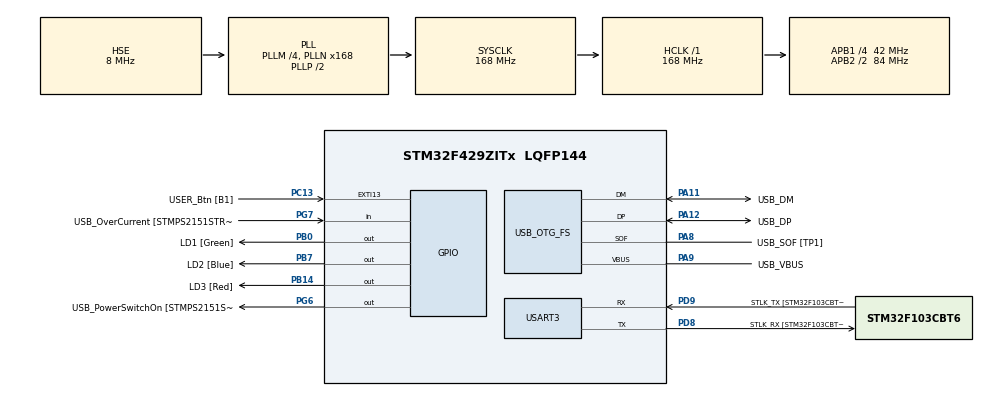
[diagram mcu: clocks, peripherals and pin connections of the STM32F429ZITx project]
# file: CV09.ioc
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Mcu.Family=STM32F4
Mcu.Name=STM32F429ZITx
Mcu.Package=LQFP144
NVIC.OTG_FS_IRQn=true\:0\:0\:false\:false\:true\:false\:true\:true
NVIC.PriorityGroup=NVIC_PRIORITYGROUP_4
PA1.GPIO_Label=RMII_REF_CLK [LAN8742A-CZ-TR_REFCLK0]
PA1.Signal=ETH_REF_CLK
PA10.GPIO_Label=USB_ID
PA10.Signal=USB_OTG_FS_ID
PA11.GPIO_Label=USB_DM
PA11.Mode=Device_Only
PA11.Signal=USB_OTG_FS_DM
PA12.GPIO_Label=USB_DP
PA12.Mode=Device_Only
PA12.Signal=USB_OTG_FS_DP
PA13.GPIO_Label=TMS
PA13.Mode=Serial_Wire
PA13.Signal=SYS_JTMS-SWDIO
PA14.GPIO_Label=TCK
PA14.Mode=Serial_Wire
PA14.Signal=SYS_JTCK-SWCLK
PA2.GPIO_Label=RMII_MDIO [LAN8742A-CZ-TR_MDIO]
PA2.Signal=ETH_MDIO
PA7.GPIO_Label=RMII_CRS_DV [LAN8742A-CZ-TR_CRS_DV]
PA7.Signal=ETH_CRS_DV
PA8.GPIO_Label=USB_SOF [TP1]
PA8.Mode=Activate_SOF_FS
PA8.Signal=USB_OTG_FS_SOF
PA9.GPIO_Label=USB_VBUS
PA9.Mode=Activate_VBUS
PA9.Signal=USB_OTG_FS_VBUS
PB0.GPIO_Label=LD1 [Green]
PB0.Signal=GPIO_Output
PB13.GPIO_Label=RMII_TXD1 [LAN8742A-CZ-TR_TXD1]
PB13.Signal=ETH_TXD1
PB14.GPIO_Label=LD3 [Red]
PB14.Signal=GPIO_Output
PB7.GPIO_Label=LD2 [Blue]
PB7.Signal=GPIO_Output
PC1.GPIO_Label=RMII_MDC [LAN8742A-CZ-TR_MDC]
PC1.Signal=ETH_MDC
PC13.GPIO_Label=USER_Btn [B1]
PC13.Signal=GPXTI13
PC14/OSC32_IN.Mode=LSE-External-Oscillator
PC14/OSC32_IN.Signal=RCC_OSC32_IN
PC15/OSC32_OUT.Mode=LSE-External-Oscillator
PC15/OSC32_OUT.Signal=RCC_OSC32_OUT
PC4.GPIO_Label=RMII_RXD0 [LAN8742A-CZ-TR_RXD0]
PC4.Signal=ETH_RXD0
PC5.GPIO_Label=RMII_RXD1 [LAN8742A-CZ-TR_RXD1]
PC5.Signal=ETH_RXD1
PD8.GPIO_Label=STLK_RX [STM32F103CBT6_PA3]
PD8.Mode=Asynchronous
PD8.Signal=USART3_TX
PD9.GPIO_Label=STLK_TX [STM32F103CBT6_PA2]
PD9.Mode=Asynchronous
PD9.Signal=USART3_RX
PG11.GPIO_Label=RMII_TX_EN [LAN8742A-CZ-TR_TXEN]
PG11.Signal=ETH_TX_EN
PG13.GPIO_Label=RMII_TXD0 [LAN8742A-CZ-TR_TXD0]
PG13.Signal=ETH_TXD0
PG6.GPIO_Label=USB_PowerSwitchOn [STMPS2151STR_EN]
PG6.Signal=GPIO_Output
PG7.GPIO_Label=USB_OverCurrent [STMPS2151STR_FAULT]
PG7.Signal=GPIO_Input
PH0/OSC_IN.GPIO_Label=MCO [STM32F103CBT6_PA8]
PH0/OSC_IN.Mode=HSE-External-Clock-Source
PH0/OSC_IN.Signal=RCC_OSC_IN
PH1/OSC_OUT.Mode=HSE-External-Clock-Source
PH1/OSC_OUT.Signal=RCC_OSC_OUT
ProjectManager.HeapSize=0x200
ProjectManager.StackSize=0x400
ProjectManager.TargetToolchain=STM32CubeIDE
RCC.48MHZClocksFreq_Value=48000000
RCC.AHBFreq_Value=168000000
RCC.APB1CLKDivider=RCC_HCLK_DIV4
RCC.APB1Freq_Value=42000000
RCC.APB1TimFreq_Value=84000000
RCC.APB2CLKDivider=RCC_HCLK_DIV2
RCC.APB2Freq_Value=84000000
RCC.APB2TimCLKDivider=2
RCC.APB2TimFreq_Value=168000000
RCC.CortexFreq_Value=168000000
RCC.HCLKFreq_Value=168000000
RCC.HSE_VALUE=8000000
RCC.HSI_VALUE=16000000
RCC.PLLM=4
RCC.PLLMUL=RCC_PLL_MUL9
RCC.PLLN=168
RCC.PLLQ=7
RCC.PRESCALERUSB=RCC_USBCLKSOURCE_PLL_DIV1_5
RCC.SYSCLKFreq_VALUE=168000000
RCC.SYSCLKSource=RCC_SYSCLKSOURCE_PLLCLK
RCC.SYSCLKSourceVirtual=RCC_SYSCLKSOURCE_PLLCLK
RCC.USBFreq_Value=48000000
RCC.VCOOutputFreq_Value=336000000
USART3.VirtualMode=VM_ASYNC
USB_DEVICE.CLASS_NAME_FS=HID
USB_DEVICE.VirtualMode-HID_FS=Hid
USB_DEVICE.VirtualModeFS=Hid_FS
USB_OTG_FS.VirtualMode=Device_Only
VP_USB_DEVICE_VS_USB_DEVICE_HID_FS.Mode=HID_FS
board=NUCLEO-F429ZI

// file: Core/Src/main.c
/* USER CODE BEGIN Header */
/**
 ******************************************************************************
 * @file           : main.c
 * @brief          : Main program body
 ******************************************************************************
 * @attention
 *
 * Copyright (c) 2024 STMicroelectronics.
 * All rights reserved.
 *
 * This software is licensed under terms that can be found in the LICENSE file
 * in the root directory of this software component.
 * If no LICENSE file comes with this software, it is provided AS-IS.
 *
 ******************************************************************************
 */
/* USER CODE END Header */
#include "main.h"
#include "usb_device.h"

/* USER CODE BEGIN Includes */
#include "usbd_hid.h"
#include "math.h"
#include "stdbool.h"
/* USER CODE END Includes */

/* USER CODE BEGIN PD */

extern USBD_HandleTypeDef hUsbDeviceFS;

/* USER CODE END PD */

UART_HandleTypeDef huart3;

void SystemClock_Config(void);
static void MX_GPIO_Init(void);
static void MX_USART3_UART_Init(void);

/* USER CODE BEGIN 0 */

void step(float x, float y, bool btn)
{

	uint8_t buff[4];

	buff[0] = btn?0x01:0x00; // press the left button
	buff[1] = (int32_t)(x); // shift X +10
	buff[2] = (int32_t)(y); // shift Y -3
	buff[3] = 0; // no scroll

	USBD_HID_SendReport(&hUsbDeviceFS, buff, sizeof(buff));
	HAL_Delay(USBD_HID_GetPollingInterval(&hUsbDeviceFS));

}

void circle(float r, uint32_t n, float circle_part)
{
	float x;
	float y;
	float dx;
	float dy;
	float phi;

	for(uint32_t i = 0; i <= n; i++)
	{
		static int32_t sx;
		static int32_t sy;

		phi = (circle_part*3.1415/n) * i;

		x = r*cosf(phi);
		y = r*sinf(phi);

		dx = x - sx;
		dy = y - sy;

		sx += dx;
		sy += dy;

		step(dx, dy, 1);
	}

	step(0,0,0);

}

void move(int32_t move_x, int32_t move_y)
{
	step(move_x, move_y,0);
}

/* USER CODE END 0 */

int main(void)
{

	/* MCU Configuration--------------------------------------------------------*/

	/* Reset of all peripherals, Initializes the Flash interface and the Systick. */
	HAL_Init();

	/* Configure the system clock */
	SystemClock_Config();

	/* Initialize all configured peripherals */
	MX_GPIO_Init();
	MX_USART3_UART_Init();
	MX_USB_DEVICE_Init();

	/* Infinite loop */
	while(1)
	{
		if(HAL_GPIO_ReadPin(USER_Btn_GPIO_Port, USER_Btn_Pin))
		{
			circle(100,100,2);
			move(-200,-15);
			circle(15,15,2);
			move(40,0);
			circle(15,15,2);
			move(-28,8);
			step(0,0,1);
			move(0,20);
			step(0,0,0);
			move(-10,5);
			circle(40,40,1.1);

		}
	}
}

void SystemClock_Config(void)
{
	RCC_OscInitTypeDef RCC_OscInitStruct = {0};
	RCC_ClkInitTypeDef RCC_ClkInitStruct = {0};

	/** Configure the main internal regulator output voltage
	 */
	__HAL_RCC_PWR_CLK_ENABLE();
	__HAL_PWR_VOLTAGESCALING_CONFIG(PWR_REGULATOR_VOLTAGE_SCALE1);

	/** Initializes the RCC Oscillators according to the specified parameters
	 * in the RCC_OscInitTypeDef structure.
	 */
	RCC_OscInitStruct.OscillatorType = RCC_OSCILLATORTYPE_HSE;
	RCC_OscInitStruct.HSEState = RCC_HSE_BYPASS;
	RCC_OscInitStruct.PLL.PLLState = RCC_PLL_ON;
	RCC_OscInitStruct.PLL.PLLSource = RCC_PLLSOURCE_HSE;
	RCC_OscInitStruct.PLL.PLLM = 4;
	RCC_OscInitStruct.PLL.PLLN = 168;
	RCC_OscInitStruct.PLL.PLLP = RCC_PLLP_DIV2;
	RCC_OscInitStruct.PLL.PLLQ = 7;
	if (HAL_RCC_OscConfig(&RCC_OscInitStruct) != HAL_OK)
	{
		Error_Handler();
	}

	/** Initializes the CPU, AHB and APB buses clocks
	 */
	RCC_ClkInitStruct.ClockType = RCC_CLOCKTYPE_HCLK|RCC_CLOCKTYPE_SYSCLK
			|RCC_CLOCKTYPE_PCLK1|RCC_CLOCKTYPE_PCLK2;
	RCC_ClkInitStruct.SYSCLKSource = RCC_SYSCLKSOURCE_PLLCLK;
	RCC_ClkInitStruct.AHBCLKDivider = RCC_SYSCLK_DIV1;
	RCC_ClkInitStruct.APB1CLKDivider = RCC_HCLK_DIV4;
	RCC_ClkInitStruct.APB2CLKDivider = RCC_HCLK_DIV2;

	if (HAL_RCC_ClockConfig(&RCC_ClkInitStruct, FLASH_LATENCY_5) != HAL_OK)
	{
		Error_Handler();
	}
}

static void MX_USART3_UART_Init(void)
{

	huart3.Instance = USART3;
	huart3.Init.BaudRate = 115200;
	huart3.Init.WordLength = UART_WORDLENGTH_8B;
	huart3.Init.StopBits = UART_STOPBITS_1;
	huart3.Init.Parity = UART_PARITY_NONE;
	huart3.Init.Mode = UART_MODE_TX_RX;
	huart3.Init.HwFlowCtl = UART_HWCONTROL_NONE;
	huart3.Init.OverSampling = UART_OVERSAMPLING_16;
	if (HAL_UART_Init(&huart3) != HAL_OK)
	{
		Error_Handler();
	}

}

static void MX_GPIO_Init(void)
{
	GPIO_InitTypeDef GPIO_InitStruct = {0};

	/* GPIO Ports Clock Enable */
	__HAL_RCC_GPIOC_CLK_ENABLE();
	__HAL_RCC_GPIOH_CLK_ENABLE();
	__HAL_RCC_GPIOA_CLK_ENABLE();
	__HAL_RCC_GPIOB_CLK_ENABLE();
	__HAL_RCC_GPIOD_CLK_ENABLE();
	__HAL_RCC_GPIOG_CLK_ENABLE();

	/*Configure GPIO pin Output Level */
	HAL_GPIO_WritePin(GPIOB, LD1_Pin|LD3_Pin|LD2_Pin, GPIO_PIN_RESET);

	/*Configure GPIO pin Output Level */
	HAL_GPIO_WritePin(USB_PowerSwitchOn_GPIO_Port, USB_PowerSwitchOn_Pin, GPIO_PIN_RESET);

	/*Configure GPIO pin : USER_Btn_Pin */
	GPIO_InitStruct.Pin = USER_Btn_Pin;
	GPIO_InitStruct.Mode = GPIO_MODE_IT_RISING;
	GPIO_InitStruct.Pull = GPIO_NOPULL;
	HAL_GPIO_Init(USER_Btn_GPIO_Port, &GPIO_InitStruct);

	/*Configure GPIO pins : RMII_MDC_Pin RMII_RXD0_Pin RMII_RXD1_Pin */
	GPIO_InitStruct.Pin = RMII_MDC_Pin|RMII_RXD0_Pin|RMII_RXD1_Pin;
	GPIO_InitStruct.Mode = GPIO_MODE_AF_PP;
	GPIO_InitStruct.Pull = GPIO_NOPULL;
	GPIO_InitStruct.Speed = GPIO_SPEED_FREQ_VERY_HIGH;
	GPIO_InitStruct.Alternate = GPIO_AF11_ETH;
	HAL_GPIO_Init(GPIOC, &GPIO_InitStruct);

	/*Configure GPIO pins : RMII_REF_CLK_Pin RMII_MDIO_Pin RMII_CRS_DV_Pin */
	GPIO_InitStruct.Pin = RMII_REF_CLK_Pin|RMII_MDIO_Pin|RMII_CRS_DV_Pin;
	GPIO_InitStruct.Mode = GPIO_MODE_AF_PP;
	GPIO_InitStruct.Pull = GPIO_NOPULL;
	GPIO_InitStruct.Speed = GPIO_SPEED_FREQ_VERY_HIGH;
	GPIO_InitStruct.Alternate = GPIO_AF11_ETH;
	HAL_GPIO_Init(GPIOA, &GPIO_InitStruct);

	/*Configure GPIO pins : LD1_Pin LD3_Pin LD2_Pin */
	GPIO_InitStruct.Pin = LD1_Pin|LD3_Pin|LD2_Pin;
	GPIO_InitStruct.Mode = GPIO_MODE_OUTPUT_PP;
	GPIO_InitStruct.Pull = GPIO_NOPULL;
	GPIO_InitStruct.Speed = GPIO_SPEED_FREQ_LOW;
	HAL_GPIO_Init(GPIOB, &GPIO_InitStruct);

	/*Configure GPIO pin : RMII_TXD1_Pin */
	GPIO_InitStruct.Pin = RMII_TXD1_Pin;
	GPIO_InitStruct.Mode = GPIO_MODE_AF_PP;
	GPIO_InitStruct.Pull = GPIO_NOPULL;
	GPIO_InitStruct.Speed = GPIO_SPEED_FREQ_VERY_HIGH;
	GPIO_InitStruct.Alternate = GPIO_AF11_ETH;
	HAL_GPIO_Init(RMII_TXD1_GPIO_Port, &GPIO_InitStruct);

	/*Configure GPIO pin : USB_PowerSwitchOn_Pin */
	GPIO_InitStruct.Pin = USB_PowerSwitchOn_Pin;
	GPIO_InitStruct.Mode = GPIO_MODE_OUTPUT_PP;
	GPIO_InitStruct.Pull = GPIO_NOPULL;
	GPIO_InitStruct.Speed = GPIO_SPEED_FREQ_LOW;
	HAL_GPIO_Init(USB_PowerSwitchOn_GPIO_Port, &GPIO_InitStruct);

	/*Configure GPIO pin : USB_OverCurrent_Pin */
	GPIO_InitStruct.Pin = USB_OverCurrent_Pin;
	GPIO_InitStruct.Mode = GPIO_MODE_INPUT;
	GPIO_InitStruct.Pull = GPIO_NOPULL;
	HAL_GPIO_Init(USB_OverCurrent_GPIO_Port, &GPIO_InitStruct);

	/*Configure GPIO pins : RMII_TX_EN_Pin RMII_TXD0_Pin */
	GPIO_InitStruct.Pin = RMII_TX_EN_Pin|RMII_TXD0_Pin;
	GPIO_InitStruct.Mode = GPIO_MODE_AF_PP;
	GPIO_InitStruct.Pull = GPIO_NOPULL;
	GPIO_InitStruct.Speed = GPIO_SPEED_FREQ_VERY_HIGH;
	GPIO_InitStruct.Alternate = GPIO_AF11_ETH;
	HAL_GPIO_Init(GPIOG, &GPIO_InitStruct);

}

void Error_Handler(void)
{
	__disable_irq();
	while (1)
	{
	}
}
